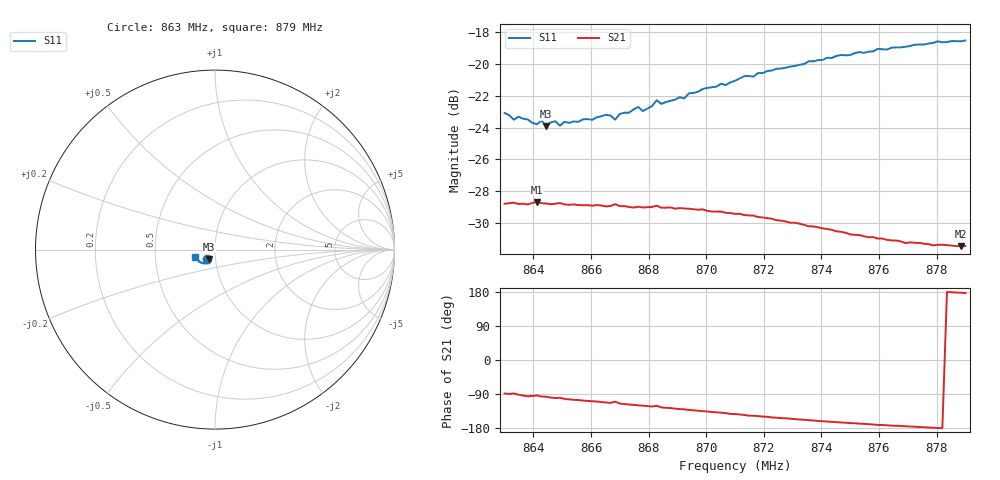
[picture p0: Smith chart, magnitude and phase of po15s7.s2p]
# HZ S RI R 50
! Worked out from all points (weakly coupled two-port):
!   101 points, 863 MHz to 879 MHz, reference 50 ohm
!   highest |S21| = -28.67 dB at 864.12 MHz (marker M1); lowest = -31.5 dB at 878.84 MHz (marker M2)
!   lowest |S11| = -23.9 dB at 864.44 MHz (marker M3), VSWR 1.14, Z = 46.3 - j4.91 ohm
!   |S11| at or under -10 dB: start of sweep to end of sweep
!   S12 and S22 are empty: the file has one direction only
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8.63e8  -0.0449 -0.054  0.00102 -0.0363  0 0  0 0
8.6332e8  -0.0392 -0.0542  0.0011 -0.0366  0 0  0 0
8.6348e8  -0.0411 -0.0546  -0.000966 -0.0363  0 0  0 0
8.6412e8  -0.0356 -0.054  -0.00244 -0.0368  0 0  0 0
8.6428e8  -0.0369 -0.0552  -0.00406 -0.0363  0 0  0 0
8.6444e8  -0.0357 -0.0529  -0.00434 -0.0362  0 0  0 0
8.6476e8  -0.0385 -0.0538  -0.00659 -0.0358  0 0  0 0
8.6492e8  -0.0329 -0.0549  -0.00613 -0.036  0 0  0 0
8.6508e8  -0.0364 -0.055  -0.00794 -0.0353  0 0  0 0
8.6572e8  -0.0331 -0.0583  -0.0106 -0.0344  0 0  0 0
8.6652e8  -0.0336 -0.0606  -0.0134 -0.033  0 0  0 0
8.6684e8  -0.0291 -0.0603  -0.0124 -0.0341  0 0  0 0
8.67e8  -0.0335 -0.0611  -0.0151 -0.0324  0 0  0 0
8.6764e8  -0.035 -0.0644  -0.0176 -0.0309  0 0  0 0
8.678e8  -0.0332 -0.063  -0.018 -0.0305  0 0  0 0
8.6828e8  -0.035 -0.0686  -0.0183 -0.0308  0 0  0 0
8.6844e8  -0.0351 -0.0663  -0.0203 -0.0289  0 0  0 0
8.71e8  -0.0476 -0.0748  -0.0268 -0.0205  0 0  0 0
8.7372e8  -0.0681 -0.0761  -0.0289 -0.0108  0 0  0 0
8.7644e8  -0.0935 -0.0629  -0.0277 -0.00329  0 0  0 0
8.7884e8  -0.1104 -0.0416  -0.0267 0.00113  0 0  0 0
8.79e8  -0.1119 -0.04  -0.0267 0.00159  0 0  0 0
